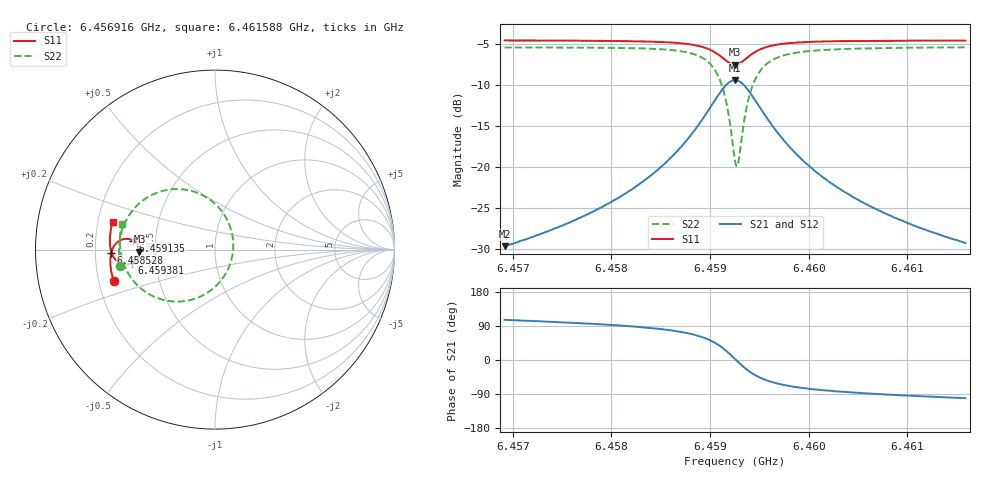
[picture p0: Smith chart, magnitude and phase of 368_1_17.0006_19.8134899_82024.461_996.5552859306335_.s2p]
#  HZ  S  RI  R  50.00
! Rohde & Schwarz Vector Network Analyzer
! Rohde-Schwarz,ZNB20-2Port,1311601062101988,3.16
! Created: UTC 3/20/2024, 11:08:36 PM
! freq[Hz]  re:S11  im:S11  re:S21  im:S21  re:S12  im:S12  re:S22  im:S22
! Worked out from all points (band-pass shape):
!   401 points, 6.456916 GHz to 6.461588 GHz, reference 50 ohm
!   highest |S21| = -9.39 dB at 6.459252 GHz (marker M1); lowest = -29.6 dB at 6.456916 GHz (marker M2)
!   |S21| within 3 dB of the highest: 6.459019 GHz to 6.459486 GHz (467.1 kHz wide, 0.00723 % of centre)
!   lowest |S11| = -7.5 dB at 6.459252 GHz (marker M3), VSWR 2.45, Z = 20.4 - j0.569 ohm
!   |S11| at or under -10 dB: nowhere
!   |S22| runs from -19.9 to -5.4 dB; largest |S21 - S12| = 0.013
!   S11 on the Smith chart (normalised r, x): 6.456916 GHz: 0.26, -0.14; 6.458528 GHz: 0.27, -0.01; 6.459135 GHz: 0.37, +0.05; 6.459381 GHz: 0.36, -0.07; 6.461588 GHz: 0.26, +0.12
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6.4569161e9  -0.5652 -0.1768  -0.00909 0.0317  -0.00732 0.0318  -0.5291 -0.0898
6.4576987e9  -0.58 -0.1089  -0.00604 0.0494  -0.00346 0.0489  -0.5357 0.000361
6.4580842e9  -0.5831 -0.0709  -0.00112 0.0658  0.00189 0.0647  -0.5298 0.0592
6.4584814e9  -0.5798 -0.0244  0.0133 0.097  0.0172 0.0943  -0.5041 0.1447
6.4585281e9  -0.5784 -0.0182  0.0164 0.1024  0.0206 0.0995  -0.4979 0.1579
6.4587383e9  -0.5666 0.0137  0.0421 0.1337  0.0461 0.129  -0.4503 0.229
6.4588902e9  -0.5457 0.04  0.0838 0.1637  0.0873 0.1572  -0.3734 0.2928
6.459042e9  -0.5003 0.0598  0.1741 0.1828  0.1751 0.1756  -0.2088 0.3372
6.4591355e9  -0.4564 0.0501  0.2626 0.1528  0.2629 0.1468  -0.045 0.2893
6.4591822e9  -0.4356 0.0317  0.3057 0.111  0.307 0.1057  0.0367 0.2151
6.4592523e9  -0.4208 -0.0115  0.339 0.0159  0.3425 0.0091  0.1018 0.0394
6.459264e9  -0.4212 -0.0195  0.339 -0.00167  0.3426 -0.00901  0.1016 0.0064
6.4592873e9  -0.4245 -0.0347  0.3337 -0.0358  0.3373 -0.0446  0.0912 -0.0581
6.4593808e9  -0.4614 -0.0763  0.2649 -0.1354  0.2641 -0.1482  -0.0473 -0.2434
6.4594275e9  -0.4838 -0.0831  0.2213 -0.1579  0.2176 -0.1702  -0.1343 -0.2802
6.4594859e9  -0.5086 -0.0823  0.1727 -0.1672  0.1664 -0.1779  -0.2299 -0.2893
6.4596377e9  -0.5495 -0.0607  0.0907 -0.1515  0.0826 -0.1571  -0.3853 -0.2371
6.4598013e9  -0.5696 -0.0333  0.049 -0.1244  0.0416 -0.1269  -0.4602 -0.1673
6.4600349e9  -0.581 0.000501  0.0222 -0.0954  0.0166 -0.0959  -0.5042 -0.0909
6.460397e9  -0.5856 0.0429  0.00597 -0.0685  0.00213 -0.068  -0.5259 -0.0103
6.4608175e9  -0.5836 0.0849  -0.00122 -0.0509  -0.00404 -0.05  -0.5299 0.0553
6.4615884e9  -0.571 0.1528  -0.00644 -0.0339  -0.00807 -0.033  -0.5185 0.1452
